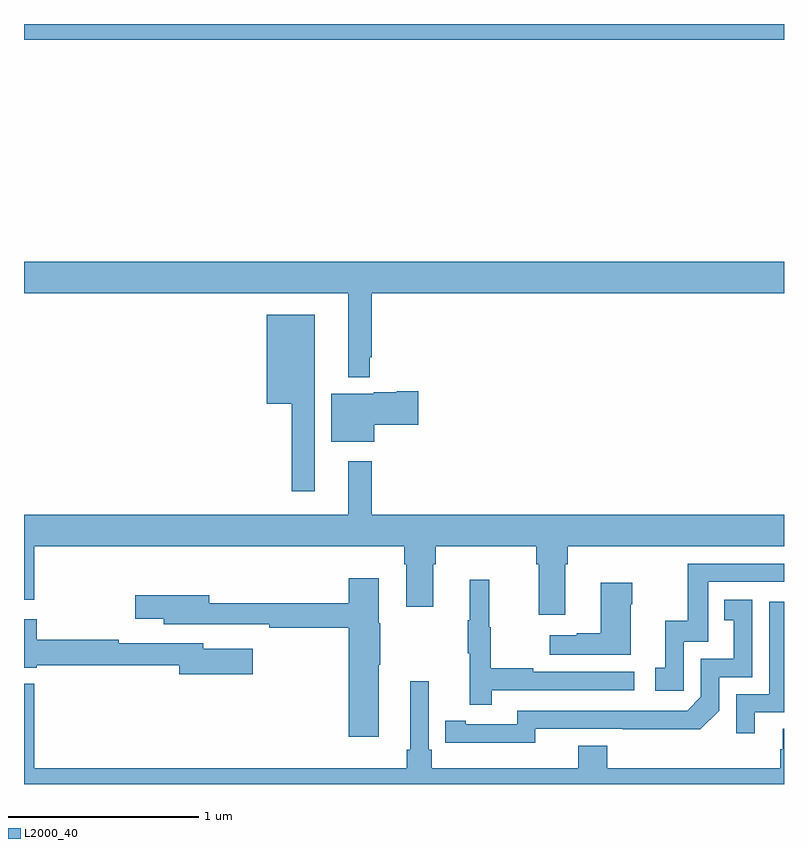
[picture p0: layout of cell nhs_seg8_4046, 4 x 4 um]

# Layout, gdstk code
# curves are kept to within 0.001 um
import gdstk
lib = gdstk.Library(unit=1e-6, precision=1e-09)
def R(c, l, rs):  # rectangles x0, y0, x1, y1
    for r in rs: c.add(gdstk.rectangle(r[:2], r[2:], *l))
def P(c, l, *ps):  # polygons
    for p in ps: c.add(gdstk.Polygon(p, *l))
L2000_40 = (2000, 40)

nhs_seg8_4046 = lib.new_cell('nhs_seg8_4046')
R(nhs_seg8_4046, L2000_40, [(359,1133.816,363,1133.9)])
P(nhs_seg8_4046, L2000_40, [(360.821,1132.147),(360.829,1132.147),(360.829,1132.484),(363,1132.484),(363,1132.648),(359,1132.648),(359,1132.484),(360.707,1132.484),(360.707,1132.04),(360.821,1132.04)],
  [(360.529,1132.369),(360.278,1132.369),(360.278,1131.902),(360.408,1131.902),(360.408,1131.441),(360.529,1131.441)],
  [(360.844,1131.79),(361.075,1131.79),(361.075,1131.968),(360.962,1131.968),(360.962,1131.961),(360.84,1131.961),(360.84,1131.955),(360.617,1131.955),(360.617,1131.701),(360.844,1131.701)],
  [(361.849,1131.056),(361.862,1131.056),(361.862,1131.152),(363,1131.152),(363,1131.316),(360.829,1131.316),(360.829,1131.598),(360.707,1131.598),(360.707,1131.316),(359,1131.316),(359,1130.871),(359.053,1130.871),(359.053,1131.152),(361.001,1131.152),(361.001,1131.056),(361.013,1131.056),(361.013,1130.832),(361.153,1130.832),(361.153,1131.056),(361.166,1131.056),(361.166,1131.152),(361.697,1131.152),(361.697,1131.056),(361.709,1131.056),(361.709,1130.79),(361.849,1130.79)],
  [(362.472,1130.649),(362.601,1130.649),(362.601,1130.964),(363,1130.964),(363,1131.06),(362.493,1131.06),(362.493,1130.758),(362.375,1130.758),(362.375,1130.511),(362.322,1130.511),(362.322,1130.391),(362.472,1130.391)],
  [(360.868,1130.527),(360.876,1130.527),(360.876,1130.745),(360.868,1130.745),(360.868,1130.983),(360.71,1130.983),(360.71,1130.851),(359.974,1130.851),(359.974,1130.893),(359.586,1130.893),(359.586,1130.771),(359.735,1130.771),(359.735,1130.741),(360.292,1130.741),(360.292,1130.722),(360.71,1130.722),(360.71,1130.148),(360.868,1130.148)],
  [(361.463,1130.394),(362.212,1130.394),(362.212,1130.49),(361.679,1130.49),(361.679,1130.51),(361.456,1130.51),(361.456,1130.724),(361.448,1130.724),(361.448,1130.974),(361.346,1130.974),(361.346,1130.761),(361.335,1130.761),(361.335,1130.587),(361.346,1130.587),(361.346,1130.316),(361.463,1130.316)],
  [(362.194,1130.846),(362.202,1130.846),(362.202,1130.959),(362.036,1130.959),(362.036,1130.693),(361.91,1130.693),(361.91,1130.683),(361.767,1130.683),(361.767,1130.579),(362.194,1130.579)],
  [(361.692,1130.19),(362.56,1130.189),(362.658,1130.286),(362.658,1130.463),(362.832,1130.463),(362.832,1130.869),(362.686,1130.869),(362.686,1130.763),(362.735,1130.763),(362.735,1130.559),(362.562,1130.559),(362.562,1130.358),(362.49,1130.286),(361.596,1130.286),(361.596,1130.214),(361.324,1130.214),(361.324,1130.234),(361.216,1130.234),(361.216,1130.118),(361.692,1130.117)],
  [(362.845,1130.277),(363,1130.277),(363,1130.859),(362.922,1130.859),(362.922,1130.373),(362.748,1130.373),(362.748,1130.166),(362.845,1130.166)],
  [(360.205,1130.611),(359.944,1130.611),(359.944,1130.64),(359.498,1130.64),(359.498,1130.66),(359.068,1130.66),(359.068,1130.767),(359,1130.767),(359,1130.513),(359.068,1130.513),(359.068,1130.524),(359.816,1130.524),(359.816,1130.477),(360.205,1130.477)],
  [(363,1130.192),(362.993,1130.192),(362.993,1130.082),(362.981,1130.082),(362.981,1129.984),(362.069,1129.984),(362.069,1130.101),(361.916,1130.101),(361.916,1129.984),(361.145,1129.984),(361.145,1130.08),(361.131,1130.08),(361.131,1130.44),(361.034,1130.44),(361.034,1130.08),(361.015,1130.08),(361.015,1129.984),(359.053,1129.984),(359.053,1130.428),(359,1130.428),(359,1129.9),(363,1129.9)])

lib.write_gds('nhs_seg8_4046.gds')
